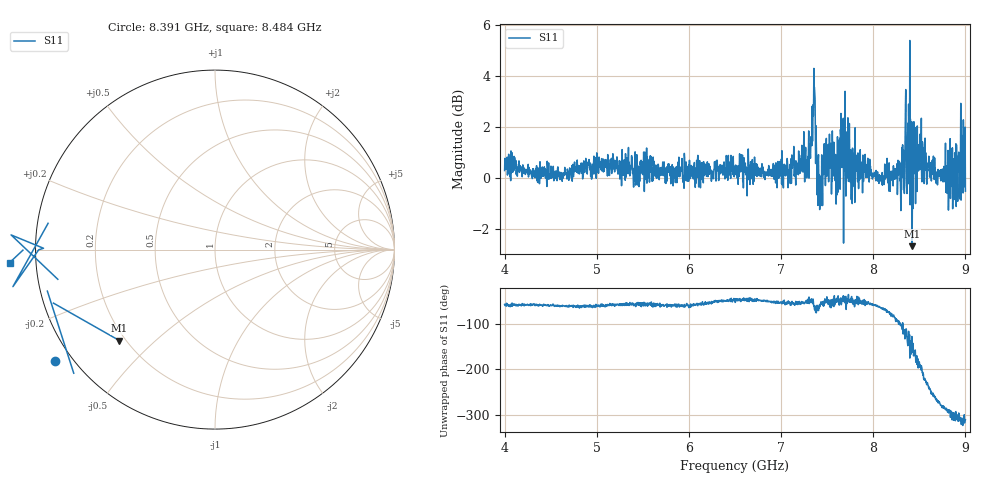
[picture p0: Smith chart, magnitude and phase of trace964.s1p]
! Created with skrf 1.8.0 (http://scikit-rf.org).
# Hz S RI R 50.0
!freq ReS11 ImS11
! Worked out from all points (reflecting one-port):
!   1601 points, 4 GHz to 9 GHz, reference 50 ohm
!   lowest |S11| = -2.7 dB at 8.422 GHz (marker M1), VSWR 6.55, Z = 8.82 - j19.5 ohm
!   phase of S11 starts at -56 deg and turns -255 deg over the sweep
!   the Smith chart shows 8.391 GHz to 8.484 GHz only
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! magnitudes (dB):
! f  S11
! 4 GHz  0.3
! 4.625 GHz  -0.1
! 5.25 GHz  0.0
! 5.875 GHz  0.1
! 6.5 GHz  0.5
! 7.125 GHz  0.7
! 7.297 GHz  1.0
! 7.347 GHz  2.9
! 7.369 GHz  3.1
! 7.412 GHz  -0.5
! 7.512 GHz  1.3
! 7.591 GHz  0.9
! 7.619 GHz  1.5
! 7.65 GHz  2.5
! 7.75 GHz  0.6
! 8.281 GHz  0.2
! 8.316 GHz  0.7
! 8.334 GHz  -0.3
! 8.375 GHz  2.2
! 8.406 GHz  0.9
! 8.422 GHz  -2.7
! 8.447 GHz  1.9
! 8.459 GHz  -1.0
! 8.541 GHz  0.9
! 8.7 GHz  -0.1
! 8.894 GHz  0.3
! 8.972 GHz  0.7
! 9 GHz  -0.5
